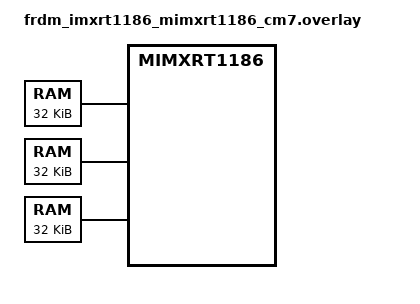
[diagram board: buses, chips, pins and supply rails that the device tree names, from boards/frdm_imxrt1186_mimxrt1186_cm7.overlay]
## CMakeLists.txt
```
#
# Copyright 2026 NXP
#
# SPDX-License-Identifier: Apache-2.0
#

cmake_minimum_required(VERSION 3.28.0)

find_package(Zephyr REQUIRED HINTS $ENV{ZEPHYR_BASE})
project(ipc_service_remote)

target_sources(app PRIVATE src/main.c)
```

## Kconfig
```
# Copyright 2026 NXP
#
# SPDX-License-Identifier: Apache-2.0

source "Kconfig.zephyr"

config SAMPLE_IPC_RPMSG_LITE_STACK_SIZE
	int "Stack size for the sample IPC worker threads"
	default 4096
	help
	  Stack size in bytes for the per-instance demo threads in
	  the remote image.
```

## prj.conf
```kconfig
#
# Copyright 2026 NXP
#
# SPDX-License-Identifier: Apache-2.0
#

CONFIG_PRINTK=y
CONFIG_HEAP_MEM_POOL_SIZE=4096
CONFIG_MAIN_STACK_SIZE=4096

CONFIG_IPC_SERVICE=y
CONFIG_IPC_SERVICE_BACKEND_RPMSG_LITE=y
CONFIG_MBOX=y

CONFIG_RPMSGLITE=y
CONFIG_RPMSGLITE_NS=y

# RPMsg-Lite library options (provided by hal_nxp rpmsg-lite Zephyr integration)
CONFIG_RL_API_HAS_ZEROCOPY=y
CONFIG_RL_USE_STATIC_API=y

CONFIG_LOG=y
CONFIG_IPC_SERVICE_LOG_LEVEL_INF=y
```

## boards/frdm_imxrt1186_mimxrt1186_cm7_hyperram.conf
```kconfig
#
# Copyright 2026 NXP
#
# SPDX-License-Identifier: Apache-2.0
#

CONFIG_MBOX_NXP_IMX_MU=y
CONFIG_BUILD_OUTPUT_HEX=y
CONFIG_SECOND_CORE_MCUX=y
```

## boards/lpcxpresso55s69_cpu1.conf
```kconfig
#
# Copyright 2026 NXP
#
# SPDX-License-Identifier: Apache-2.0
#

CONFIG_SECOND_CORE_MCUX=y
CONFIG_BUILD_OUTPUT_HEX=y
```

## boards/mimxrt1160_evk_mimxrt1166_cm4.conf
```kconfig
#
# Copyright 2026 NXP
#
# SPDX-License-Identifier: Apache-2.0
#

CONFIG_BUILD_OUTPUT_INFO_HEADER=y
CONFIG_BUILD_OUTPUT_HEX=y
CONFIG_SECOND_CORE_MCUX=y
```

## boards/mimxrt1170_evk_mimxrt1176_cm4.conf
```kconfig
#
# Copyright 2026 NXP
#
# SPDX-License-Identifier: Apache-2.0
#

CONFIG_MBOX_NXP_IMX_MU=y
CONFIG_BUILD_OUTPUT_INFO_HEADER=y
CONFIG_BUILD_OUTPUT_HEX=y
CONFIG_SECOND_CORE_MCUX=y
```

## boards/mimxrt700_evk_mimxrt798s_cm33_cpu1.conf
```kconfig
#
# Copyright 2026 NXP
#
# SPDX-License-Identifier: Apache-2.0
#

CONFIG_BUILD_OUTPUT_HEX=y
CONFIG_SECOND_CORE_MCUX=y
```

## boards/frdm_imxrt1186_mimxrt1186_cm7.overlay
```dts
/*
 * Copyright 2026 NXP
 *
 * SPDX-License-Identifier: Apache-2.0
 */

#include <zephyr/dt-bindings/ipc_service/static_vrings.h>
#include <zephyr/dt-bindings/memory-attr/memory-attr-arm.h>

/ {
	chosen {
		zephyr,console = &lpuart3;
		zephyr,shell-uart = &lpuart3;
	};

	/*
	 * Shared OCRAM regions for IPC vrings — same physical addresses
	 * as CM33 host side. CM7 sees OCRAM at the same 0x20480000 base.
	 */
	ocram_ipc0: memory@20480000 {
		compatible = "zephyr,memory-region", "mmio-sram";
		reg = <0x20480000 DT_SIZE_K(32)>;
		zephyr,memory-region = "OCRAM_IPC0";
		zephyr,memory-attr = <DT_MEM_ARM(ATTR_MPU_IO)>;
	};

	ocram_ipc1: memory@20488000 {
		compatible = "zephyr,memory-region", "mmio-sram";
		reg = <0x20488000 DT_SIZE_K(32)>;
		zephyr,memory-region = "OCRAM_IPC1";
		zephyr,memory-attr = <DT_MEM_ARM(ATTR_MPU_IO)>;
	};

	ocram_ipc2: memory@20490000 {
		compatible = "zephyr,memory-region", "mmio-sram";
		reg = <0x20490000 DT_SIZE_K(32)>;
		zephyr,memory-region = "OCRAM_IPC2";
		zephyr,memory-attr = <DT_MEM_ARM(ATTR_MPU_IO)>;
	};

	ipc {
		/delete-node/ ipc0;

		ipc0: ipc0 {
			compatible = "nxp,ipc-rpmsg-lite";
			memory-region = <&ocram_ipc0>;
			/*
			 * CM7 uses mbox1_b (B-side of MU1).
			 * rx/tx are swapped relative to CM33 host side.
			 */
			mboxes = <&mbox1_b 2>, <&mbox1_b 3>;
			mbox-names = "rx", "tx";
			link-id = <0>;
			role = "remote";
			status = "okay";
		};

		ipc1: ipc1 {
			compatible = "nxp,ipc-rpmsg-lite";
			memory-region = <&ocram_ipc1>;
			notification-parent = <&ipc0>;
			link-id = <1>;
			role = "remote";
			priority = <1 PRIO_COOP>;
			buffer-size = <128>;
			status = "okay";
		};

		ipc2: ipc2 {
			compatible = "nxp,ipc-rpmsg-lite";
			memory-region = <&ocram_ipc2>;
			notification-parent = <&ipc0>;
			link-id = <2>;
			role = "remote";
			priority = <1 PRIO_COOP>;
			buffer-size = <128>;
			status = "okay";
		};
	};
};

&mbox1_b {
	status = "okay";
};
```

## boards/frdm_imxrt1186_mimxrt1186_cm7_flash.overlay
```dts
/*
 * Copyright 2026 NXP
 *
 * SPDX-License-Identifier: Apache-2.0
 */

#include <zephyr/dt-bindings/ipc_service/static_vrings.h>
#include <zephyr/dt-bindings/memory-attr/memory-attr-arm.h>

/ {
	chosen {
		zephyr,console = &lpuart3;
		zephyr,shell-uart = &lpuart3;
		zephyr,flash = &w25q128jv;
		zephyr,code-partition = &slot1_partition;
	};

	ocram_ipc0: memory@20480000 {
		compatible = "zephyr,memory-region", "mmio-sram";
		reg = <0x20480000 DT_SIZE_K(32)>;
		zephyr,memory-region = "OCRAM_IPC0";
		zephyr,memory-attr = <DT_MEM_ARM(ATTR_MPU_IO)>;
	};

	ocram_ipc1: memory@20488000 {
		compatible = "zephyr,memory-region", "mmio-sram";
		reg = <0x20488000 DT_SIZE_K(32)>;
		zephyr,memory-region = "OCRAM_IPC1";
		zephyr,memory-attr = <DT_MEM_ARM(ATTR_MPU_IO)>;
	};

	ocram_ipc2: memory@20490000 {
		compatible = "zephyr,memory-region", "mmio-sram";
		reg = <0x20490000 DT_SIZE_K(32)>;
		zephyr,memory-region = "OCRAM_IPC2";
		zephyr,memory-attr = <DT_MEM_ARM(ATTR_MPU_IO)>;
	};

	ipc {
		/delete-node/ ipc0;

		ipc0: ipc0 {
			compatible = "nxp,ipc-rpmsg-lite";
			memory-region = <&ocram_ipc0>;
			mboxes = <&mbox1_b 2>, <&mbox1_b 3>;
			mbox-names = "rx", "tx";
			link-id = <0>;
			role = "remote";
			status = "okay";
		};

		ipc1: ipc1 {
			compatible = "nxp,ipc-rpmsg-lite";
			memory-region = <&ocram_ipc1>;
			notification-parent = <&ipc0>;
			link-id = <1>;
			role = "remote";
			priority = <1 PRIO_COOP>;
			buffer-size = <128>;
			status = "okay";
		};

		ipc2: ipc2 {
			compatible = "nxp,ipc-rpmsg-lite";
			memory-region = <&ocram_ipc2>;
			notification-parent = <&ipc0>;
			link-id = <2>;
			role = "remote";
			priority = <1 PRIO_COOP>;
			buffer-size = <128>;
			status = "okay";
		};
	};
};

&flexspi2 {
	status = "okay";
};

&mbox1_b {
	status = "okay";
};
```

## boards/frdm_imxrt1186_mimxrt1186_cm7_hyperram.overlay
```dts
/*
 * Copyright 2026 NXP
 *
 * SPDX-License-Identifier: Apache-2.0
 */

#include <zephyr/dt-bindings/ipc_service/static_vrings.h>
#include <zephyr/dt-bindings/memory-attr/memory-attr-arm.h>

/ {
	chosen {
		zephyr,console = &lpuart3;
		zephyr,shell-uart = &lpuart3;
		zephyr,flash = &hyperram0;
		zephyr,code-partition = &slot1_partition;
	};

	ocram_ipc0: memory@20480000 {
		compatible = "zephyr,memory-region", "mmio-sram";
		reg = <0x20480000 DT_SIZE_K(32)>;
		zephyr,memory-region = "OCRAM_IPC0";
		zephyr,memory-attr = <DT_MEM_ARM(ATTR_MPU_IO)>;
	};

	ocram_ipc1: memory@20488000 {
		compatible = "zephyr,memory-region", "mmio-sram";
		reg = <0x20488000 DT_SIZE_K(32)>;
		zephyr,memory-region = "OCRAM_IPC1";
		zephyr,memory-attr = <DT_MEM_ARM(ATTR_MPU_IO)>;
	};

	ocram_ipc2: memory@20490000 {
		compatible = "zephyr,memory-region", "mmio-sram";
		reg = <0x20490000 DT_SIZE_K(32)>;
		zephyr,memory-region = "OCRAM_IPC2";
		zephyr,memory-attr = <DT_MEM_ARM(ATTR_MPU_IO)>;
	};

	ipc {
		/delete-node/ ipc0;

		ipc0: ipc0 {
			compatible = "nxp,ipc-rpmsg-lite";
			memory-region = <&ocram_ipc0>;
			mboxes = <&mbox1_b 2>, <&mbox1_b 3>;
			mbox-names = "rx", "tx";
			link-id = <0>;
			role = "remote";
			status = "okay";
		};

		ipc1: ipc1 {
			compatible = "nxp,ipc-rpmsg-lite";
			memory-region = <&ocram_ipc1>;
			notification-parent = <&ipc0>;
			link-id = <1>;
			role = "remote";
			priority = <1 PRIO_COOP>;
			buffer-size = <128>;
			status = "okay";
		};

		ipc2: ipc2 {
			compatible = "nxp,ipc-rpmsg-lite";
			memory-region = <&ocram_ipc2>;
			notification-parent = <&ipc0>;
			link-id = <2>;
			role = "remote";
			priority = <1 PRIO_COOP>;
			buffer-size = <128>;
			status = "okay";
		};
	};
};

&flexspi {
	status = "okay";
};

&hyperram0 {
	zephyr,memory-attr = <DT_MEM_ARM(ATTR_MPU_FLASH)>;
	status = "okay";
};

&mbox1_b {
	status = "okay";
};
```

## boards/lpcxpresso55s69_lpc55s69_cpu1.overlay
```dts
/*
 * Copyright 2026 NXP
 *
 * SPDX-License-Identifier: Apache-2.0
 */

#include <zephyr/dt-bindings/ipc_service/static_vrings.h>
#include <zephyr/dt-bindings/memory-attr/memory-attr-arm.h>

/ {
	chosen {
		/* Delete ipc chosen property where old IPM mailbox driver below is
		 * configured.
		 */
		/delete-property/ zephyr,ipc;
		/delete-property/ zephyr,ipc_shm;
	};

	soc {
		/* Delete IPM Driver node nxp,lpc-mailbox */
		/delete-node/ mailbox@8b000;

		/* Attach MBOX driver to Mailbox Unit */
		mbox: mailbox0@5008b000 {
			compatible = "nxp,mbox-mailbox";
			reg = <0x5008b000 0xec>;
			interrupts = <31 0>;
			rx-channels = <4>;
			#mbox-cells = <1>;
			status = "okay";
		};
	};

	ipc {
		/delete-node/ ipc0;

		ipc0: ipc0 {
			compatible = "nxp,ipc-rpmsg-lite";
			memory-region = <&sram4_ipc0>;
			/* With ipc-rpmsg-lite we can reuse same MBOX channel per IPC instance */
			mboxes = <&mbox 2>, <&mbox 3>;
			mbox-names = "rx", "tx";
			link-id = <0>;
			role = "remote";
			status = "okay";
		};

		ipc1: ipc1 {
			compatible = "nxp,ipc-rpmsg-lite";
			memory-region = <&sram4_ipc1>;
			notification-parent = <&ipc0>;
			link-id = <1>;
			role = "remote";
			priority = <1 PRIO_COOP>;
			buffer-size = <128>;
			status = "okay";
		};

		ipc2: ipc2 {
			compatible = "nxp,ipc-rpmsg-lite";
			memory-region = <&sram4_ipc2>;
			notification-parent = <&ipc0>;
			link-id = <2>;
			role = "remote";
			priority = <1 PRIO_COOP>;
			buffer-size = <128>;
			status = "okay";
		};
	};

	/* Define memory regions for IPC
	 * Note that shared memory must have specific MPU attributes set.
	 */
	sram4_ipc0: memory@20040000 {
		compatible = "zephyr,memory-region", "mmio-sram";
		reg = <0x20040000 DT_SIZE_K(8)>;
		zephyr,memory-region = "SRAM4_IPC0";
		zephyr,memory-attr = <DT_MEM_ARM(ATTR_MPU_IO)>;
	};

	sram4_ipc1: memory@20042000 {
		compatible = "zephyr,memory-region", "mmio-sram";
		reg = <0x20042000 DT_SIZE_K(8)>;
		zephyr,memory-region = "SRAM4_IPC1";
		zephyr,memory-attr = <DT_MEM_ARM(ATTR_MPU_IO)>;
	};

	sram4_ipc2: memory@20044000 {
		compatible = "zephyr,memory-region", "mmio-sram";
		reg = <0x20044000 DT_SIZE_K(8)>;
		zephyr,memory-region = "SRAM4_IPC2";
		zephyr,memory-attr = <DT_MEM_ARM(ATTR_MPU_IO)>;
	};
};
```

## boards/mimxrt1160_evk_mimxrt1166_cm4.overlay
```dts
/*
 * Copyright 2026 NXP
 *
 * SPDX-License-Identifier: Apache-2.0
 */

#include <zephyr/dt-bindings/ipc_service/static_vrings.h>
#include <zephyr/dt-bindings/memory-attr/memory-attr-arm.h>

/ {
	chosen {
		zephyr,flash = &ocram;
		zephyr,console = &lpuart2;
		zephyr,shell-uart = &lpuart2;

		/* Delete ipc chosen property where old IPM mailbox driver below is
		 * configured.
		 */
		/delete-property/ zephyr,ipc;
		/delete-property/ zephyr,ipc_shm;
	};

	/* Define memory regions for IPC
	 * Note that shared memory must have specific MPU attributes set.
	 */
	ocram2_ipc0: memory@202c0000 {
		compatible = "zephyr,memory-region", "mmio-sram";
		reg = <0x202c0000 DT_SIZE_K(32)>;
		zephyr,memory-region = "OCRAM2_IPC0";
		zephyr,memory-attr = <DT_MEM_ARM(ATTR_MPU_IO)>;
	};

	ocram2_ipc1: memory@202c8000 {
		compatible = "zephyr,memory-region", "mmio-sram";
		reg = <0x202c8000 DT_SIZE_K(32)>;
		zephyr,memory-region = "OCRAM2_IPC1";
		zephyr,memory-attr = <DT_MEM_ARM(ATTR_MPU_IO)>;
	};

	ocram2_ipc2: memory@202d0000 {
		compatible = "zephyr,memory-region", "mmio-sram";
		reg = <0x202d0000 DT_SIZE_K(32)>;
		zephyr,memory-region = "OCRAM2_IPC2";
		zephyr,memory-attr = <DT_MEM_ARM(ATTR_MPU_IO)>;
	};

	soc {
		/delete-node/ gpt@400f0000;

		/* Replace GPT2 with another GPT kernel timer */
		gpt2_hw_timer: gpt@400f0000 {
			compatible = "nxp,gpt-hw-timer";
			reg = <0x400f0000 0x4000>;
			interrupts = <120 0>;
			status = "okay";
		};

		/* Delete IPM Driver node nxp,imx-mu */
		/delete-node/ mailbox@40c4c000;

		/* Attach MBOX driver to MU Unit */
		mbox: mbox@40c4c000 {
			compatible = "nxp,mbox-imx-mu";
			reg = <0x40c4c000 0x4000>;
			interrupts = <118 0>;
			rx-channels = <4>;
			#mbox-cells = <1>;
			status = "okay";
		};
	};

	ipc {
		/delete-node/ ipc0;

		ipc0: ipc0 {
			compatible = "nxp,ipc-rpmsg-lite";
			memory-region = <&ocram2_ipc0>;
			/* With ipc-rpmsg-lite we can reuse same MBOX channel per IPC instance */
			mboxes = <&mbox 2>, <&mbox 3>;
			mbox-names = "rx", "tx";
			link-id = <0>;
			role = "remote";
			status = "okay";
		};

		ipc1: ipc1 {
			compatible = "nxp,ipc-rpmsg-lite";
			memory-region = <&ocram2_ipc1>;
			notification-parent = <&ipc0>;
			link-id = <1>;
			role = "remote";
			priority = <1 PRIO_COOP>;
			buffer-size = <128>;
			status = "okay";
		};

		ipc2: ipc2 {
			compatible = "nxp,ipc-rpmsg-lite";
			memory-region = <&ocram2_ipc2>;
			notification-parent = <&ipc0>;
			link-id = <2>;
			role = "remote";
			priority = <1 PRIO_COOP>;
			buffer-size = <128>;
			status = "okay";
		};
	};
};

/* Enable secondary LPUART */
&lpuart2 {
	current-speed = <115200>;
	status = "okay";
};

/* Disable primary GPT timer */
&gpt_hw_timer {
	status = "disabled";
};
```

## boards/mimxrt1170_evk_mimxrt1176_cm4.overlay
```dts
/*
 * Copyright 2026 NXP
 *
 * SPDX-License-Identifier: Apache-2.0
 */

#include <zephyr/dt-bindings/ipc_service/static_vrings.h>
#include <zephyr/dt-bindings/memory-attr/memory-attr-arm.h>

/ {
	chosen {
		zephyr,flash = &ocram;
		zephyr,console = &lpuart2;
		zephyr,shell-uart = &lpuart2;

		/* Delete ipc chosen property where old IPM mailbox driver below is
		 * configured.
		 */
		/delete-property/ zephyr,ipc;
		/delete-property/ zephyr,ipc_shm;
	};

	soc {
		/delete-node/ gpt@400f0000;

		/* Replace GPT2 with another GPT kernel timer */
		gpt2_hw_timer: gpt@400f0000 {
			compatible = "nxp,gpt-hw-timer";
			reg = <0x400f0000 0x4000>;
			interrupts = <120 0>;
			status = "okay";
		};

		/* Delete IPM Driver node nxp,imx-mu */
		/delete-node/ mailbox@40c4c000;

		/* Attach MBOX driver to MU Unit */
		mbox: mbox@40c4c000 {
			compatible = "nxp,mbox-imx-mu";
			reg = <0x40c4c000 0x4000>;
			interrupts = <118 0>;
			rx-channels = <4>;
			#mbox-cells = <1>;
			status = "okay";
		};
	};

	ipc {
		/delete-node/ ipc0;

		ipc0: ipc0 {
			compatible = "nxp,ipc-rpmsg-lite";
			memory-region = <&ocram2_ipc0>;
			/* With ipc-rpmsg-lite we can reuse same MBOX channel per IPC instance */
			mboxes = <&mbox 2>, <&mbox 3>;
			mbox-names = "rx", "tx";
			link-id = <0>;
			role = "remote";
			status = "okay";
		};

		ipc1: ipc1 {
			compatible = "nxp,ipc-rpmsg-lite";
			memory-region = <&ocram2_ipc1>;
			notification-parent = <&ipc0>;
			link-id = <1>;
			role = "remote";
			priority = <1 PRIO_COOP>;
			buffer-size = <128>;
			status = "okay";
		};

		ipc2: ipc2 {
			compatible = "nxp,ipc-rpmsg-lite";
			memory-region = <&ocram2_ipc2>;
			notification-parent = <&ipc0>;
			link-id = <2>;
			role = "remote";
			priority = <1 PRIO_COOP>;
			buffer-size = <128>;
			status = "okay";
		};
	};

	/* Define memory regions for IPC
	 * Note that shared memory must have specific MPU attributes set.
	 */
	ocram2_ipc0: memory@202c0000 {
		compatible = "zephyr,memory-region", "mmio-sram";
		reg = <0x202c0000 DT_SIZE_K(32)>;
		zephyr,memory-region = "OCRAM2_IPC0";
		zephyr,memory-attr = <DT_MEM_ARM(ATTR_MPU_IO)>;
	};

	ocram2_ipc1: memory@202c8000 {
		compatible = "zephyr,memory-region", "mmio-sram";
		reg = <0x202c8000 DT_SIZE_K(32)>;
		zephyr,memory-region = "OCRAM2_IPC1";
		zephyr,memory-attr = <DT_MEM_ARM(ATTR_MPU_IO)>;
	};

	ocram2_ipc2: memory@202d0000 {
		compatible = "zephyr,memory-region", "mmio-sram";
		reg = <0x202d0000 DT_SIZE_K(32)>;
		zephyr,memory-region = "OCRAM2_IPC2";
		zephyr,memory-attr = <DT_MEM_ARM(ATTR_MPU_IO)>;
	};
};

/* Enable secondary LPUART */
&lpuart2 {
	current-speed = <115200>;
	status = "okay";
};

/* Disable primary GPT timer */
&gpt_hw_timer {
	status = "disabled";
};
```

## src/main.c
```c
/*
 * Copyright (c) 2021 Carlo Caione <ccaione@baylibre.com>
 * Copyright 2026 NXP
 *
 * SPDX-License-Identifier: Apache-2.0
 */

#include <zephyr/kernel.h>
#include <zephyr/device.h>

#include <zephyr/ipc/ipc_service.h>

#define STACKSIZE    CONFIG_SAMPLE_IPC_RPMSG_LITE_STACK_SIZE
#define PRIORITY     K_PRIO_PREEMPT(2)
#define NUM_MESSAGES 20

/* Start-gate semaphores: ipc1 starts after ipc0 ends, ipc2 after ipc1 ends */
static K_SEM_DEFINE(ipc1_start_sem, 0, 1);
static K_SEM_DEFINE(ipc2_start_sem, 0, 1);

/* Bound / data semaphores */
static K_SEM_DEFINE(ipc0_bound_sem, 0, 1);
static K_SEM_DEFINE(ipc1_bound_sem, 0, 1);
static K_SEM_DEFINE(ipc2_bound_sem, 0, 1);

static K_SEM_DEFINE(ipc0_data_sem, 0, 1);
static K_SEM_DEFINE(ipc1_data_sem, 0, 1);
static K_SEM_DEFINE(ipc2_data_sem, 0, 1);

static volatile uint8_t ipc0_received_data;
static volatile uint8_t ipc2_received_data;

/* NOCOPY: ipc1 stores the received buffer pointer */
static void *ipc1_recv_data;
static bool ipc1_recv_data_is_copy;
static uint8_t ipc1_recv_data_copy;

static struct ipc_ept ipc1_ept;

/* ------------------------------------------------------------------ */
/*  IPC instance 0 callbacks                                           */
/* ------------------------------------------------------------------ */

static void ipc0_ept_bound(void *priv)
{
	k_sem_give(&ipc0_bound_sem);
}

static void ipc0_ept_recv(const void *data, size_t len, void *priv)
{
	ipc0_received_data = *((uint8_t *)data);
	k_sem_give(&ipc0_data_sem);
}

static struct ipc_ept_cfg ipc0_ept_cfg = {
	.name = "ipc0",
	.cb = {
		.bound    = ipc0_ept_bound,
		.received = ipc0_ept_recv,
	},
};

/* ------------------------------------------------------------------ */
/*  IPC instance 1 callbacks (NOCOPY)                                  */
/* ------------------------------------------------------------------ */

static void ipc1_ept_bound(void *priv)
{
	k_sem_give(&ipc1_bound_sem);
}

static void ipc1_ept_recv(const void *data, size_t len, void *priv)
{
	int ret;

	if (len == 0U) {
		return;
	}

	/*
	 * The buffer belongs to the backend. Hold it before returning from the
	 * callback, otherwise ipc1_recv_data becomes a dangling pointer.
	 */
	ret = ipc_service_hold_rx_buffer(&ipc1_ept, (void *)data);
	if (ret == 0) {
		ipc1_recv_data = (void *)data;
		ipc1_recv_data_is_copy = false;
	} else {
		/* Fall back to copying the first byte so the sample keeps running. */
		ipc1_recv_data_copy = *((const uint8_t *)data);
		ipc1_recv_data = &ipc1_recv_data_copy;
		ipc1_recv_data_is_copy = true;
		printk("ipc_service_hold_rx_buffer failed with ret %d\n", ret);
	}

	k_sem_give(&ipc1_data_sem);
}

static struct ipc_ept_cfg ipc1_ept_cfg = {
	.name = "ipc1",
	.cb = {
		.bound    = ipc1_ept_bound,
		.received = ipc1_ept_recv,
	},
};

/* ------------------------------------------------------------------ */
/*  IPC instance 2 callbacks                                           */
/* ------------------------------------------------------------------ */

static void ipc2_ept_bound(void *priv)
{
	k_sem_give(&ipc2_bound_sem);
}

static void ipc2_ept_recv(const void *data, size_t len, void *priv)
{
	ipc2_received_data = *((uint8_t *)data);
	k_sem_give(&ipc2_data_sem);
}

static struct ipc_ept_cfg ipc2_ept_cfg = {
	.name = "ipc2",
	.cb = {
		.bound    = ipc2_ept_bound,
		.received = ipc2_ept_recv,
	},
};

/* ------------------------------------------------------------------ */
/*  THREAD 0 (IPC instance 0)                                          */
/* ------------------------------------------------------------------ */

static void ipc0_entry(void *dummy0, void *dummy1, void *dummy2)
{
	ARG_UNUSED(dummy0);
	ARG_UNUSED(dummy1);
	ARG_UNUSED(dummy2);

	const struct device *ipc0_instance;
	unsigned char message = 0;
	struct ipc_ept ipc0_ept;
	int ret;

	printk("IPC-service REMOTE [INST 0] demo started\n");

	ipc0_instance = DEVICE_DT_GET(DT_NODELABEL(ipc0));

	ret = ipc_service_open_instance(ipc0_instance);
	if (ret < 0 && ret != -EALREADY) {
		printk("ipc_service_open_instance() failure\n");
		goto out;
	}

	ret = ipc_service_register_endpoint(ipc0_instance, &ipc0_ept, &ipc0_ept_cfg);
	if (ret < 0) {
		printk("ipc_service_register_endpoint() failure\n");
		goto out;
	}

	k_sem_take(&ipc0_bound_sem, K_FOREVER);

	while (message < NUM_MESSAGES - 1) {
		k_sem_take(&ipc0_data_sem, K_FOREVER);
		message = ipc0_received_data;
		printk("REMOTE [0]: %d\n", message);
		message++;

		ret = ipc_service_send(&ipc0_ept, &message, sizeof(message));
		if (ret < 0) {
			printk("send_message(%d) failed with ret %d\n", message, ret);
			break;
		}
	}

	printk("IPC-service REMOTE [INST 0] demo ended.\n");

out:
	k_sem_give(&ipc1_start_sem);
}

K_THREAD_DEFINE(ipc0_thread_id, STACKSIZE, ipc0_entry, NULL, NULL, NULL, PRIORITY, 0, 0);

/* ------------------------------------------------------------------ */
/*  THREAD 1 (IPC instance 1) — NOCOPY                                 */
/* ------------------------------------------------------------------ */

static void ipc1_entry(void *dummy0, void *dummy1, void *dummy2)
{
	ARG_UNUSED(dummy0);
	ARG_UNUSED(dummy1);
	ARG_UNUSED(dummy2);

	const struct device *ipc1_instance;
	unsigned char message = 0;
	int ret;

	/* Wait for instance 0 to finish */
	k_sem_take(&ipc1_start_sem, K_FOREVER);

	printk("IPC-service REMOTE [INST 1] demo started\n");

	ipc1_instance = DEVICE_DT_GET(DT_NODELABEL(ipc1));

	ret = ipc_service_open_instance(ipc1_instance);
	if (ret < 0 && ret != -EALREADY) {
		printk("ipc_service_open_instance() failure\n");
		goto out;
	}

	/*
	 * Give the host thread time to open and register its ipc1 endpoint
	 * after its own ipc0 loop finishes.
	 */
	k_sleep(K_MSEC(100));

	ret = ipc_service_register_endpoint(ipc1_instance, &ipc1_ept, &ipc1_ept_cfg);
	if (ret < 0) {
		printk("ipc_service_register_endpoint() failure\n");
		goto out;
	}

	k_sem_take(&ipc1_bound_sem, K_FOREVER);

	while (message < NUM_MESSAGES) {
		uint32_t len = sizeof(message);
		void *data;

		k_sem_take(&ipc1_data_sem, K_FOREVER);
		printk("REMOTE [1]: %d\n", *((unsigned char *)ipc1_recv_data));

		ret = ipc_service_get_tx_buffer(&ipc1_ept, &data, &len, K_FOREVER);
		if (ret < 0) {
			printk("ipc_service_get_tx_buffer failed with ret %d\n", ret);
			break;
		}

		*((unsigned char *)data) = *((unsigned char *)ipc1_recv_data) + 1;

		if (!ipc1_recv_data_is_copy) {
			ret = ipc_service_release_rx_buffer(&ipc1_ept, ipc1_recv_data);
			if (ret < 0) {
				printk("ipc_service_release_rx_buffer failed with ret %d\n", ret);
				break;
			}
		}

		ret = ipc_service_send_nocopy(&ipc1_ept, data, sizeof(unsigned char));
		if (ret < 0) {
			printk("send_message(%d) failed with ret %d\n", message, ret);
			break;
		}

		message++;
	}

	printk("IPC-service REMOTE [INST 1] demo ended.\n");

out:
	k_sem_give(&ipc2_start_sem);
}

K_THREAD_DEFINE(ipc1_thread_id, STACKSIZE, ipc1_entry, NULL, NULL, NULL, PRIORITY, 0, 0);

/* ------------------------------------------------------------------ */
/*  THREAD 2 (IPC instance 2)                                          */
/* ------------------------------------------------------------------ */

static void ipc2_entry(void *dummy0, void *dummy1, void *dummy2)
{
	ARG_UNUSED(dummy0);
	ARG_UNUSED(dummy1);
	ARG_UNUSED(dummy2);

	const struct device *ipc2_instance;
	unsigned char message = 0;
	struct ipc_ept ipc2_ept;
	int ret;

	/* Wait for instance 1 to finish */
	k_sem_take(&ipc2_start_sem, K_FOREVER);

	printk("IPC-service REMOTE [INST 2] demo started\n");

	ipc2_instance = DEVICE_DT_GET(DT_NODELABEL(ipc2));

	ret = ipc_service_open_instance(ipc2_instance);
	if (ret < 0 && ret != -EALREADY) {
		printk("ipc_service_open_instance() failure\n");
		return;
	}

	ret = ipc_service_register_endpoint(ipc2_instance, &ipc2_ept, &ipc2_ept_cfg);
	if (ret < 0) {
		printk("ipc_service_register_endpoint() failure\n");
		return;
	}

	k_sem_take(&ipc2_bound_sem, K_FOREVER);

	while (message < NUM_MESSAGES - 1) {
		k_sem_take(&ipc2_data_sem, K_FOREVER);
		message = ipc2_received_data;
		printk("REMOTE [2]: %d\n", message);
		message++;

		ret = ipc_service_send(&ipc2_ept, &message, sizeof(message));
		if (ret < 0) {
			printk("send_message(%d) failed with ret %d\n", message, ret);
			break;
		}
	}

	printk("IPC-service REMOTE [INST 2] demo ended.\n");
}

K_THREAD_DEFINE(ipc2_thread_id, STACKSIZE, ipc2_entry, NULL, NULL, NULL, PRIORITY, 0, 0);
```
